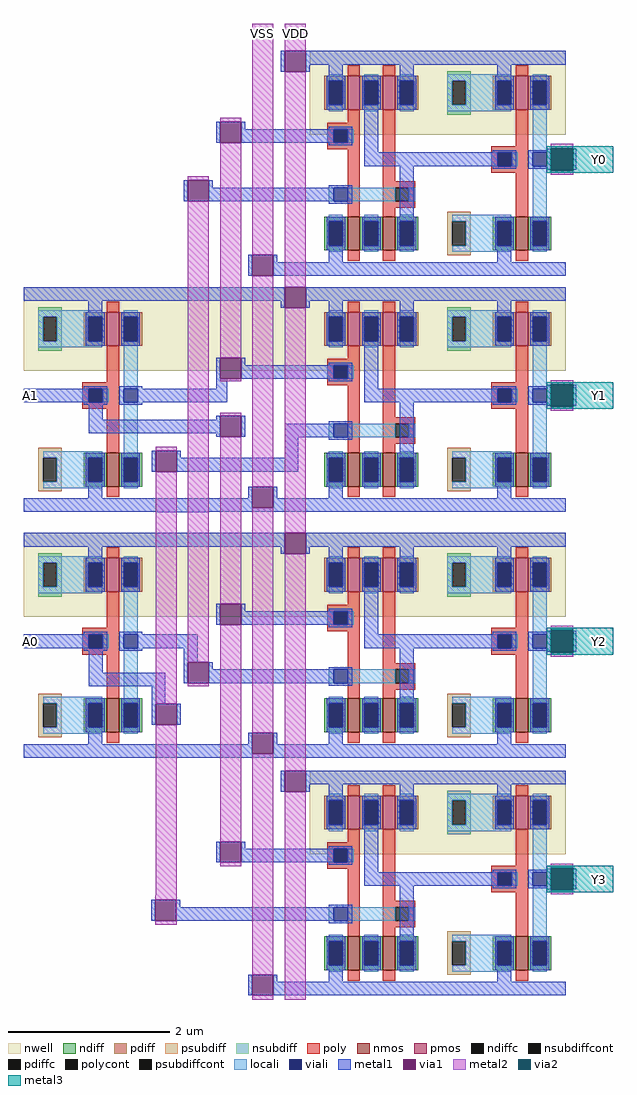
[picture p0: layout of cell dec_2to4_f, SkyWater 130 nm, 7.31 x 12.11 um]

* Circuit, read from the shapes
.subckt dec_2to4_f A0 A1 VDD VSS Y0 Y1 Y2 Y3
XM1 n1 A0 VSS VSS sky130_fd_pr__nfet_01v8 w=0.42 l=0.15
XM2 n2 A1 VSS VSS sky130_fd_pr__nfet_01v8 w=0.42 l=0.15
XM3 n3 A1 VSS VSS sky130_fd_pr__nfet_01v8 w=0.42 l=0.15
XM4 n4 A1 VSS VSS sky130_fd_pr__nfet_01v8 w=0.42 l=0.15
XM5 n5 n2 VSS VSS sky130_fd_pr__nfet_01v8 w=0.42 l=0.15
XM6 n6 n2 VSS VSS sky130_fd_pr__nfet_01v8 w=0.42 l=0.15
XM7 n7 A0 n3 VSS sky130_fd_pr__nfet_01v8 w=0.42 l=0.15
XM8 n8 n1 n4 VSS sky130_fd_pr__nfet_01v8 w=0.42 l=0.15
XM9 n9 A0 n5 VSS sky130_fd_pr__nfet_01v8 w=0.42 l=0.15
XM10 n10 n1 n6 VSS sky130_fd_pr__nfet_01v8 w=0.42 l=0.15
XM11 Y3 n7 VSS VSS sky130_fd_pr__nfet_01v8 w=0.42 l=0.15
XM12 Y2 n8 VSS VSS sky130_fd_pr__nfet_01v8 w=0.42 l=0.15
XM13 Y1 n9 VSS VSS sky130_fd_pr__nfet_01v8 w=0.42 l=0.15
XM14 Y0 n10 VSS VSS sky130_fd_pr__nfet_01v8 w=0.42 l=0.15
XM15 n1 A0 VDD VDD sky130_fd_pr__pfet_01v8 w=0.42 l=0.15
XM16 n2 A1 VDD VDD sky130_fd_pr__pfet_01v8 w=0.42 l=0.15
XM17 n7 A1 VDD VDD sky130_fd_pr__pfet_01v8 w=0.42 l=0.15
XM18 n8 A1 VDD VDD sky130_fd_pr__pfet_01v8 w=0.42 l=0.15
XM19 n9 n2 VDD VDD sky130_fd_pr__pfet_01v8 w=0.42 l=0.15
XM20 n10 n2 VDD VDD sky130_fd_pr__pfet_01v8 w=0.42 l=0.15
XM21 VDD A0 n7 VDD sky130_fd_pr__pfet_01v8 w=0.42 l=0.15
XM22 VDD n1 n8 VDD sky130_fd_pr__pfet_01v8 w=0.42 l=0.15
XM23 VDD A0 n9 VDD sky130_fd_pr__pfet_01v8 w=0.42 l=0.15
XM24 VDD n1 n10 VDD sky130_fd_pr__pfet_01v8 w=0.42 l=0.15
XM25 Y3 n7 VDD VDD sky130_fd_pr__pfet_01v8 w=0.42 l=0.15
XM26 Y2 n8 VDD VDD sky130_fd_pr__pfet_01v8 w=0.42 l=0.15
XM27 Y1 n9 VDD VDD sky130_fd_pr__pfet_01v8 w=0.42 l=0.15
XM28 Y0 n10 VDD VDD sky130_fd_pr__pfet_01v8 w=0.42 l=0.15
.ends

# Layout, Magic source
magic
tech sky130A
magscale 1 2
<< nwell >>
rect 709 2146 1345 2354
rect 0 1560 1345 1768
rect 0 950 1345 1158
rect 709 360 1345 568
<< nmos >>
rect 803 1859 833 1943
rect 891 1859 921 1943
rect 1221 1859 1251 1943
rect 206 1273 236 1357
rect 803 1273 833 1357
rect 891 1273 921 1357
rect 1221 1273 1251 1357
rect 206 663 236 747
rect 803 663 833 747
rect 891 663 921 747
rect 1221 663 1251 747
rect 803 73 833 157
rect 891 73 921 157
rect 1221 73 1251 157
<< pmos >>
rect 803 2208 833 2292
rect 891 2208 921 2292
rect 1221 2208 1251 2292
rect 206 1622 236 1706
rect 803 1622 833 1706
rect 891 1622 921 1706
rect 1221 1622 1251 1706
rect 206 1012 236 1096
rect 803 1012 833 1096
rect 891 1012 921 1096
rect 1221 1012 1251 1096
rect 803 422 833 506
rect 891 422 921 506
rect 1221 422 1251 506
<< ndiff >>
rect 745 1931 803 1943
rect 745 1871 757 1931
rect 791 1871 803 1931
rect 745 1859 803 1871
rect 833 1931 891 1943
rect 833 1871 845 1931
rect 879 1871 891 1931
rect 833 1859 891 1871
rect 921 1931 979 1943
rect 921 1871 933 1931
rect 967 1871 979 1931
rect 921 1859 979 1871
rect 1163 1931 1221 1943
rect 1163 1871 1175 1931
rect 1209 1871 1221 1931
rect 1163 1859 1221 1871
rect 1251 1931 1309 1943
rect 1251 1871 1263 1931
rect 1297 1871 1309 1931
rect 1251 1859 1309 1871
rect 148 1345 206 1357
rect 148 1285 160 1345
rect 194 1285 206 1345
rect 148 1273 206 1285
rect 236 1345 294 1357
rect 236 1285 248 1345
rect 282 1285 294 1345
rect 236 1273 294 1285
rect 745 1345 803 1357
rect 745 1285 757 1345
rect 791 1285 803 1345
rect 745 1273 803 1285
rect 833 1345 891 1357
rect 833 1285 845 1345
rect 879 1285 891 1345
rect 833 1273 891 1285
rect 921 1345 979 1357
rect 921 1285 933 1345
rect 967 1285 979 1345
rect 921 1273 979 1285
rect 1163 1345 1221 1357
rect 1163 1285 1175 1345
rect 1209 1285 1221 1345
rect 1163 1273 1221 1285
rect 1251 1345 1309 1357
rect 1251 1285 1263 1345
rect 1297 1285 1309 1345
rect 1251 1273 1309 1285
rect 148 735 206 747
rect 148 675 160 735
rect 194 675 206 735
rect 148 663 206 675
rect 236 735 294 747
rect 236 675 248 735
rect 282 675 294 735
rect 236 663 294 675
rect 745 735 803 747
rect 745 675 757 735
rect 791 675 803 735
rect 745 663 803 675
rect 833 735 891 747
rect 833 675 845 735
rect 879 675 891 735
rect 833 663 891 675
rect 921 735 979 747
rect 921 675 933 735
rect 967 675 979 735
rect 921 663 979 675
rect 1163 735 1221 747
rect 1163 675 1175 735
rect 1209 675 1221 735
rect 1163 663 1221 675
rect 1251 735 1309 747
rect 1251 675 1263 735
rect 1297 675 1309 735
rect 1251 663 1309 675
rect 745 145 803 157
rect 745 85 757 145
rect 791 85 803 145
rect 745 73 803 85
rect 833 145 891 157
rect 833 85 845 145
rect 879 85 891 145
rect 833 73 891 85
rect 921 145 979 157
rect 921 85 933 145
rect 967 85 979 145
rect 921 73 979 85
rect 1163 145 1221 157
rect 1163 85 1175 145
rect 1209 85 1221 145
rect 1163 73 1221 85
rect 1251 145 1309 157
rect 1251 85 1263 145
rect 1297 85 1309 145
rect 1251 73 1309 85
<< pdiff >>
rect 745 2280 803 2292
rect 745 2220 757 2280
rect 791 2220 803 2280
rect 745 2208 803 2220
rect 833 2280 891 2292
rect 833 2220 845 2280
rect 879 2220 891 2280
rect 833 2208 891 2220
rect 921 2280 979 2292
rect 921 2220 933 2280
rect 967 2220 979 2280
rect 921 2208 979 2220
rect 1163 2280 1221 2292
rect 1163 2220 1175 2280
rect 1209 2220 1221 2280
rect 1163 2208 1221 2220
rect 1251 2280 1309 2292
rect 1251 2220 1263 2280
rect 1297 2220 1309 2280
rect 1251 2208 1309 2220
rect 148 1694 206 1706
rect 148 1634 160 1694
rect 194 1634 206 1694
rect 148 1622 206 1634
rect 236 1694 294 1706
rect 236 1634 248 1694
rect 282 1634 294 1694
rect 236 1622 294 1634
rect 745 1694 803 1706
rect 745 1634 757 1694
rect 791 1634 803 1694
rect 745 1622 803 1634
rect 833 1694 891 1706
rect 833 1634 845 1694
rect 879 1634 891 1694
rect 833 1622 891 1634
rect 921 1694 979 1706
rect 921 1634 933 1694
rect 967 1634 979 1694
rect 921 1622 979 1634
rect 1163 1694 1221 1706
rect 1163 1634 1175 1694
rect 1209 1634 1221 1694
rect 1163 1622 1221 1634
rect 1251 1694 1309 1706
rect 1251 1634 1263 1694
rect 1297 1634 1309 1694
rect 1251 1622 1309 1634
rect 148 1084 206 1096
rect 148 1024 160 1084
rect 194 1024 206 1084
rect 148 1012 206 1024
rect 236 1084 294 1096
rect 236 1024 248 1084
rect 282 1024 294 1084
rect 236 1012 294 1024
rect 745 1084 803 1096
rect 745 1024 757 1084
rect 791 1024 803 1084
rect 745 1012 803 1024
rect 833 1084 891 1096
rect 833 1024 845 1084
rect 879 1024 891 1084
rect 833 1012 891 1024
rect 921 1084 979 1096
rect 921 1024 933 1084
rect 967 1024 979 1084
rect 921 1012 979 1024
rect 1163 1084 1221 1096
rect 1163 1024 1175 1084
rect 1209 1024 1221 1084
rect 1163 1012 1221 1024
rect 1251 1084 1309 1096
rect 1251 1024 1263 1084
rect 1297 1024 1309 1084
rect 1251 1012 1309 1024
rect 745 494 803 506
rect 745 434 757 494
rect 791 434 803 494
rect 745 422 803 434
rect 833 494 891 506
rect 833 434 845 494
rect 879 434 891 494
rect 833 422 891 434
rect 921 494 979 506
rect 921 434 933 494
rect 967 434 979 494
rect 921 422 979 434
rect 1163 494 1221 506
rect 1163 434 1175 494
rect 1209 434 1221 494
rect 1163 422 1221 434
rect 1251 494 1309 506
rect 1251 434 1263 494
rect 1297 434 1309 494
rect 1251 422 1309 434
<< ndiffc >>
rect 757 1871 791 1931
rect 845 1871 879 1931
rect 933 1871 967 1931
rect 1175 1871 1209 1931
rect 1263 1871 1297 1931
rect 160 1285 194 1345
rect 248 1285 282 1345
rect 757 1285 791 1345
rect 845 1285 879 1345
rect 933 1285 967 1345
rect 1175 1285 1209 1345
rect 1263 1285 1297 1345
rect 160 675 194 735
rect 248 675 282 735
rect 757 675 791 735
rect 845 675 879 735
rect 933 675 967 735
rect 1175 675 1209 735
rect 1263 675 1297 735
rect 757 85 791 145
rect 845 85 879 145
rect 933 85 967 145
rect 1175 85 1209 145
rect 1263 85 1297 145
<< pdiffc >>
rect 757 2220 791 2280
rect 845 2220 879 2280
rect 933 2220 967 2280
rect 1175 2220 1209 2280
rect 1263 2220 1297 2280
rect 160 1634 194 1694
rect 248 1634 282 1694
rect 757 1634 791 1694
rect 845 1634 879 1694
rect 933 1634 967 1694
rect 1175 1634 1209 1694
rect 1263 1634 1297 1694
rect 160 1024 194 1084
rect 248 1024 282 1084
rect 757 1024 791 1084
rect 845 1024 879 1084
rect 933 1024 967 1084
rect 1175 1024 1209 1084
rect 1263 1024 1297 1084
rect 757 434 791 494
rect 845 434 879 494
rect 933 434 967 494
rect 1175 434 1209 494
rect 1263 434 1297 494
<< psubdiff >>
rect 1051 1931 1109 1955
rect 1051 1871 1063 1931
rect 1097 1871 1109 1931
rect 1051 1847 1109 1871
rect 36 1345 94 1369
rect 36 1285 48 1345
rect 82 1285 94 1345
rect 36 1261 94 1285
rect 1051 1345 1109 1369
rect 1051 1285 1063 1345
rect 1097 1285 1109 1345
rect 1051 1261 1109 1285
rect 36 735 94 759
rect 36 675 48 735
rect 82 675 94 735
rect 36 651 94 675
rect 1051 735 1109 759
rect 1051 675 1063 735
rect 1097 675 1109 735
rect 1051 651 1109 675
rect 1051 145 1109 169
rect 1051 85 1063 145
rect 1097 85 1109 145
rect 1051 61 1109 85
<< nsubdiff >>
rect 1051 2280 1109 2304
rect 1051 2220 1063 2280
rect 1097 2220 1109 2280
rect 1051 2196 1109 2220
rect 36 1694 94 1718
rect 36 1634 48 1694
rect 82 1634 94 1694
rect 36 1610 94 1634
rect 1051 1694 1109 1718
rect 1051 1634 1063 1694
rect 1097 1634 1109 1694
rect 1051 1610 1109 1634
rect 36 1084 94 1108
rect 36 1024 48 1084
rect 82 1024 94 1084
rect 36 1000 94 1024
rect 1051 1084 1109 1108
rect 1051 1024 1063 1084
rect 1097 1024 1109 1084
rect 1051 1000 1109 1024
rect 1051 494 1109 518
rect 1051 434 1063 494
rect 1097 434 1109 494
rect 1051 410 1109 434
<< psubdiffcont >>
rect 1063 1871 1097 1931
rect 48 1285 82 1345
rect 1063 1285 1097 1345
rect 48 675 82 735
rect 1063 675 1097 735
rect 1063 85 1097 145
<< nsubdiffcont >>
rect 1063 2220 1097 2280
rect 48 1634 82 1694
rect 1063 1634 1097 1694
rect 48 1024 82 1084
rect 1063 1024 1097 1084
rect 1063 434 1097 494
<< poly >>
rect 803 2292 833 2318
rect 891 2292 921 2318
rect 1221 2292 1251 2318
rect 803 2176 833 2208
rect 753 2160 833 2176
rect 753 2126 769 2160
rect 803 2126 833 2160
rect 753 2110 833 2126
rect 803 1943 833 2110
rect 891 2031 921 2208
rect 1221 2118 1251 2208
rect 1160 2102 1251 2118
rect 1160 2068 1176 2102
rect 1210 2068 1251 2102
rect 1160 2052 1251 2068
rect 891 2015 971 2031
rect 891 1981 921 2015
rect 955 1981 971 2015
rect 891 1965 971 1981
rect 891 1943 921 1965
rect 1221 1943 1251 2052
rect 803 1833 833 1859
rect 891 1833 921 1859
rect 1221 1833 1251 1859
rect 206 1706 236 1732
rect 803 1706 833 1732
rect 891 1706 921 1732
rect 1221 1706 1251 1732
rect 206 1532 236 1622
rect 803 1590 833 1622
rect 145 1516 236 1532
rect 753 1574 833 1590
rect 753 1540 769 1574
rect 803 1540 833 1574
rect 753 1524 833 1540
rect 145 1482 161 1516
rect 195 1482 236 1516
rect 145 1466 236 1482
rect 206 1357 236 1466
rect 803 1357 833 1524
rect 891 1445 921 1622
rect 1221 1532 1251 1622
rect 1160 1516 1251 1532
rect 1160 1482 1176 1516
rect 1210 1482 1251 1516
rect 1160 1466 1251 1482
rect 891 1429 971 1445
rect 891 1395 921 1429
rect 955 1395 971 1429
rect 891 1379 971 1395
rect 891 1357 921 1379
rect 1221 1357 1251 1466
rect 206 1247 236 1273
rect 803 1247 833 1273
rect 891 1247 921 1273
rect 1221 1247 1251 1273
rect 206 1096 236 1122
rect 803 1096 833 1122
rect 891 1096 921 1122
rect 1221 1096 1251 1122
rect 206 922 236 1012
rect 803 980 833 1012
rect 145 906 236 922
rect 753 964 833 980
rect 753 930 769 964
rect 803 930 833 964
rect 753 914 833 930
rect 145 872 161 906
rect 195 872 236 906
rect 145 856 236 872
rect 206 747 236 856
rect 803 747 833 914
rect 891 835 921 1012
rect 1221 922 1251 1012
rect 1160 906 1251 922
rect 1160 872 1176 906
rect 1210 872 1251 906
rect 1160 856 1251 872
rect 891 819 971 835
rect 891 785 921 819
rect 955 785 971 819
rect 891 769 971 785
rect 891 747 921 769
rect 1221 747 1251 856
rect 206 637 236 663
rect 803 637 833 663
rect 891 637 921 663
rect 1221 637 1251 663
rect 803 506 833 532
rect 891 506 921 532
rect 1221 506 1251 532
rect 803 390 833 422
rect 753 374 833 390
rect 753 340 769 374
rect 803 340 833 374
rect 753 324 833 340
rect 803 157 833 324
rect 891 245 921 422
rect 1221 332 1251 422
rect 1160 316 1251 332
rect 1160 282 1176 316
rect 1210 282 1251 316
rect 1160 266 1251 282
rect 891 229 971 245
rect 891 195 921 229
rect 955 195 971 229
rect 891 179 971 195
rect 891 157 921 179
rect 1221 157 1251 266
rect 803 47 833 73
rect 891 47 921 73
rect 1221 47 1251 73
<< polycont >>
rect 769 2126 803 2160
rect 1176 2068 1210 2102
rect 921 1981 955 2015
rect 769 1540 803 1574
rect 161 1482 195 1516
rect 1176 1482 1210 1516
rect 921 1395 955 1429
rect 769 930 803 964
rect 161 872 195 906
rect 1176 872 1210 906
rect 921 785 955 819
rect 769 340 803 374
rect 1176 282 1210 316
rect 921 195 955 229
<< locali >>
rect 757 2280 791 2296
rect 757 2204 791 2220
rect 845 2280 879 2296
rect 845 2204 879 2220
rect 933 2280 967 2296
rect 933 2204 967 2220
rect 1051 2280 1209 2296
rect 1051 2220 1063 2280
rect 1097 2220 1175 2280
rect 1051 2204 1209 2220
rect 1263 2280 1297 2296
rect 753 2126 769 2160
rect 803 2126 819 2160
rect 1263 2102 1297 2220
rect 1160 2068 1176 2102
rect 1210 2068 1226 2102
rect 757 1981 769 2015
rect 803 1981 921 2015
rect 955 1981 971 2015
rect 757 1931 791 1947
rect 757 1855 791 1871
rect 845 1931 879 1947
rect 845 1855 879 1871
rect 933 1931 967 1947
rect 933 1855 967 1871
rect 1063 1931 1209 1947
rect 1097 1871 1175 1931
rect 1063 1855 1209 1871
rect 1263 1931 1297 2068
rect 1263 1855 1297 1871
rect 36 1694 194 1710
rect 36 1634 48 1694
rect 82 1634 160 1694
rect 36 1618 194 1634
rect 248 1694 282 1710
rect 248 1516 282 1634
rect 757 1694 791 1710
rect 757 1618 791 1634
rect 845 1694 879 1710
rect 845 1618 879 1634
rect 933 1694 967 1710
rect 933 1618 967 1634
rect 1051 1694 1209 1710
rect 1051 1634 1063 1694
rect 1097 1634 1175 1694
rect 1051 1618 1209 1634
rect 1263 1694 1297 1710
rect 753 1540 769 1574
rect 803 1540 819 1574
rect 1263 1516 1297 1634
rect 145 1482 161 1516
rect 195 1482 211 1516
rect 1160 1482 1176 1516
rect 1210 1482 1226 1516
rect 48 1345 194 1361
rect 82 1285 160 1345
rect 48 1269 194 1285
rect 248 1345 282 1482
rect 757 1395 769 1429
rect 803 1395 921 1429
rect 955 1395 971 1429
rect 248 1269 282 1285
rect 757 1345 791 1361
rect 757 1269 791 1285
rect 845 1345 879 1361
rect 845 1269 879 1285
rect 933 1345 967 1361
rect 933 1269 967 1285
rect 1063 1345 1209 1361
rect 1097 1285 1175 1345
rect 1063 1269 1209 1285
rect 1263 1345 1297 1482
rect 1263 1269 1297 1285
rect 36 1084 194 1100
rect 36 1024 48 1084
rect 82 1024 160 1084
rect 36 1008 194 1024
rect 248 1084 282 1100
rect 248 906 282 1024
rect 757 1084 791 1100
rect 757 1008 791 1024
rect 845 1084 879 1100
rect 845 1008 879 1024
rect 933 1084 967 1100
rect 933 1008 967 1024
rect 1051 1084 1209 1100
rect 1051 1024 1063 1084
rect 1097 1024 1175 1084
rect 1051 1008 1209 1024
rect 1263 1084 1297 1100
rect 753 930 769 964
rect 803 930 819 964
rect 1263 906 1297 1024
rect 145 872 161 906
rect 195 872 211 906
rect 1160 872 1176 906
rect 1210 872 1226 906
rect 48 735 194 751
rect 82 675 160 735
rect 48 659 194 675
rect 248 735 282 872
rect 757 785 769 819
rect 803 785 921 819
rect 955 785 971 819
rect 248 659 282 675
rect 757 735 791 751
rect 757 659 791 675
rect 845 735 879 751
rect 845 659 879 675
rect 933 735 967 751
rect 933 659 967 675
rect 1063 735 1209 751
rect 1097 675 1175 735
rect 1063 659 1209 675
rect 1263 735 1297 872
rect 1263 659 1297 675
rect 757 494 791 510
rect 757 418 791 434
rect 845 494 879 510
rect 845 418 879 434
rect 933 494 967 510
rect 933 418 967 434
rect 1051 494 1209 510
rect 1051 434 1063 494
rect 1097 434 1175 494
rect 1051 418 1209 434
rect 1263 494 1297 510
rect 753 340 769 374
rect 803 340 819 374
rect 1263 316 1297 434
rect 1160 282 1176 316
rect 1210 282 1226 316
rect 757 195 769 229
rect 803 195 921 229
rect 955 195 971 229
rect 757 145 791 161
rect 757 69 791 85
rect 845 145 879 161
rect 845 69 879 85
rect 933 145 967 161
rect 933 69 967 85
rect 1063 145 1209 161
rect 1097 85 1175 145
rect 1063 69 1209 85
rect 1263 145 1297 282
rect 1263 69 1297 85
<< viali >>
rect 757 2220 791 2280
rect 845 2220 879 2280
rect 933 2220 967 2280
rect 1175 2220 1209 2280
rect 1263 2220 1297 2280
rect 769 2126 803 2160
rect 1176 2068 1210 2102
rect 1263 2068 1297 2102
rect 769 1981 803 2015
rect 757 1871 791 1931
rect 845 1871 879 1931
rect 933 1871 967 1931
rect 1175 1871 1209 1931
rect 1263 1871 1297 1931
rect 160 1634 194 1694
rect 248 1634 282 1694
rect 757 1634 791 1694
rect 845 1634 879 1694
rect 933 1634 967 1694
rect 1175 1634 1209 1694
rect 1263 1634 1297 1694
rect 769 1540 803 1574
rect 161 1482 195 1516
rect 248 1482 282 1516
rect 1176 1482 1210 1516
rect 1263 1482 1297 1516
rect 160 1285 194 1345
rect 769 1395 803 1429
rect 248 1285 282 1345
rect 757 1285 791 1345
rect 845 1285 879 1345
rect 933 1285 967 1345
rect 1175 1285 1209 1345
rect 1263 1285 1297 1345
rect 160 1024 194 1084
rect 248 1024 282 1084
rect 757 1024 791 1084
rect 845 1024 879 1084
rect 933 1024 967 1084
rect 1175 1024 1209 1084
rect 1263 1024 1297 1084
rect 769 930 803 964
rect 161 872 195 906
rect 248 872 282 906
rect 1176 872 1210 906
rect 1263 872 1297 906
rect 160 675 194 735
rect 769 785 803 819
rect 248 675 282 735
rect 757 675 791 735
rect 845 675 879 735
rect 933 675 967 735
rect 1175 675 1209 735
rect 1263 675 1297 735
rect 757 434 791 494
rect 845 434 879 494
rect 933 434 967 494
rect 1175 434 1209 494
rect 1263 434 1297 494
rect 769 340 803 374
rect 1176 282 1210 316
rect 1263 282 1297 316
rect 769 195 803 229
rect 757 85 791 145
rect 845 85 879 145
rect 933 85 967 145
rect 1175 85 1209 145
rect 1263 85 1297 145
<< metal1 >>
rect 637 2302 647 2354
rect 699 2320 1345 2354
rect 699 2302 709 2320
rect 757 2292 791 2320
rect 933 2292 967 2320
rect 1175 2292 1209 2320
rect 751 2280 797 2292
rect 751 2220 757 2280
rect 791 2220 797 2280
rect 751 2208 797 2220
rect 839 2280 885 2292
rect 839 2220 845 2280
rect 879 2220 885 2280
rect 839 2208 885 2220
rect 927 2280 973 2292
rect 927 2220 933 2280
rect 967 2220 973 2280
rect 927 2208 973 2220
rect 1169 2280 1215 2292
rect 1169 2220 1175 2280
rect 1209 2220 1215 2280
rect 1169 2208 1215 2220
rect 1257 2280 1303 2292
rect 1257 2220 1263 2280
rect 1297 2220 1303 2280
rect 1257 2208 1303 2220
rect 477 2126 487 2178
rect 539 2160 549 2178
rect 757 2160 815 2166
rect 539 2126 769 2160
rect 803 2126 815 2160
rect 757 2120 815 2126
rect 845 2102 879 2208
rect 1299 2108 1309 2111
rect 1164 2102 1222 2108
rect 845 2068 1176 2102
rect 1210 2068 1222 2102
rect 397 1981 407 2033
rect 459 2015 469 2033
rect 757 2015 815 2021
rect 459 1981 769 2015
rect 803 1981 815 2015
rect 757 1975 815 1981
rect 933 1943 967 2068
rect 1164 2062 1222 2068
rect 1251 2102 1309 2108
rect 1251 2068 1263 2102
rect 1297 2068 1309 2102
rect 1251 2062 1309 2068
rect 1299 2059 1309 2062
rect 1361 2059 1371 2111
rect 751 1931 797 1943
rect 751 1871 757 1931
rect 791 1871 797 1931
rect 751 1859 797 1871
rect 839 1931 885 1943
rect 839 1871 845 1931
rect 879 1871 885 1931
rect 839 1859 885 1871
rect 927 1931 973 1943
rect 927 1871 933 1931
rect 967 1871 973 1931
rect 927 1859 973 1871
rect 1169 1931 1215 1943
rect 1169 1871 1175 1931
rect 1209 1871 1215 1931
rect 1169 1859 1215 1871
rect 1257 1931 1303 1943
rect 1257 1871 1263 1931
rect 1297 1871 1303 1931
rect 1257 1859 1303 1871
rect 557 1796 567 1848
rect 619 1830 629 1848
rect 757 1830 791 1859
rect 1175 1830 1209 1859
rect 619 1796 1345 1830
rect 0 1734 647 1768
rect 160 1706 194 1734
rect 637 1716 647 1734
rect 699 1734 1345 1768
rect 699 1716 709 1734
rect 757 1706 791 1734
rect 933 1706 967 1734
rect 1175 1706 1209 1734
rect 154 1694 200 1706
rect 154 1634 160 1694
rect 194 1634 200 1694
rect 154 1622 200 1634
rect 242 1694 288 1706
rect 242 1634 248 1694
rect 282 1634 288 1694
rect 242 1622 288 1634
rect 751 1694 797 1706
rect 751 1634 757 1694
rect 791 1634 797 1694
rect 751 1622 797 1634
rect 839 1694 885 1706
rect 839 1634 845 1694
rect 879 1634 885 1694
rect 839 1622 885 1634
rect 927 1694 973 1706
rect 927 1634 933 1694
rect 967 1634 973 1694
rect 927 1622 973 1634
rect 1169 1694 1215 1706
rect 1169 1634 1175 1694
rect 1209 1634 1215 1694
rect 1169 1622 1215 1634
rect 1257 1694 1303 1706
rect 1257 1634 1263 1694
rect 1297 1634 1303 1694
rect 1257 1622 1303 1634
rect 477 1540 487 1592
rect 539 1574 549 1592
rect 757 1574 815 1580
rect 539 1540 769 1574
rect 803 1540 815 1574
rect 149 1516 207 1522
rect 0 1482 161 1516
rect 195 1482 207 1516
rect 149 1476 207 1482
rect 236 1516 294 1522
rect 477 1516 505 1540
rect 757 1534 815 1540
rect 236 1482 248 1516
rect 282 1482 505 1516
rect 845 1516 879 1622
rect 1299 1522 1309 1525
rect 1164 1516 1222 1522
rect 845 1482 1176 1516
rect 1210 1482 1222 1516
rect 236 1476 294 1482
rect 161 1439 195 1476
rect 477 1439 487 1448
rect 161 1405 487 1439
rect 477 1396 487 1405
rect 539 1396 549 1448
rect 757 1429 815 1435
rect 647 1395 769 1429
rect 803 1395 815 1429
rect 154 1345 200 1357
rect 154 1285 160 1345
rect 194 1285 200 1345
rect 154 1273 200 1285
rect 242 1345 288 1357
rect 242 1285 248 1345
rect 282 1285 288 1345
rect 317 1310 327 1362
rect 379 1344 389 1362
rect 647 1344 681 1395
rect 757 1389 815 1395
rect 933 1357 967 1482
rect 1164 1476 1222 1482
rect 1251 1516 1309 1522
rect 1251 1482 1263 1516
rect 1297 1482 1309 1516
rect 1251 1476 1309 1482
rect 1299 1473 1309 1476
rect 1361 1473 1371 1525
rect 379 1310 681 1344
rect 751 1345 797 1357
rect 242 1273 288 1285
rect 751 1285 757 1345
rect 791 1285 797 1345
rect 751 1273 797 1285
rect 839 1345 885 1357
rect 839 1285 845 1345
rect 879 1285 885 1345
rect 839 1273 885 1285
rect 927 1345 973 1357
rect 927 1285 933 1345
rect 967 1285 973 1345
rect 927 1273 973 1285
rect 1169 1345 1215 1357
rect 1169 1285 1175 1345
rect 1209 1285 1215 1345
rect 1169 1273 1215 1285
rect 1257 1345 1303 1357
rect 1257 1285 1263 1345
rect 1297 1285 1303 1345
rect 1257 1273 1303 1285
rect 160 1244 194 1273
rect 557 1244 567 1272
rect 0 1220 567 1244
rect 619 1244 629 1272
rect 757 1244 791 1273
rect 1175 1244 1209 1273
rect 619 1220 1345 1244
rect 0 1210 1345 1220
rect 327 1209 455 1210
rect 0 1124 647 1158
rect 160 1096 194 1124
rect 637 1106 647 1124
rect 699 1124 1345 1158
rect 699 1106 709 1124
rect 757 1096 791 1124
rect 933 1096 967 1124
rect 1175 1096 1209 1124
rect 154 1084 200 1096
rect 154 1024 160 1084
rect 194 1024 200 1084
rect 154 1012 200 1024
rect 242 1084 288 1096
rect 242 1024 248 1084
rect 282 1024 288 1084
rect 242 1012 288 1024
rect 751 1084 797 1096
rect 751 1024 757 1084
rect 791 1024 797 1084
rect 751 1012 797 1024
rect 839 1084 885 1096
rect 839 1024 845 1084
rect 879 1024 885 1084
rect 839 1012 885 1024
rect 927 1084 973 1096
rect 927 1024 933 1084
rect 967 1024 973 1084
rect 927 1012 973 1024
rect 1169 1084 1215 1096
rect 1169 1024 1175 1084
rect 1209 1024 1215 1084
rect 1169 1012 1215 1024
rect 1257 1084 1303 1096
rect 1257 1024 1263 1084
rect 1297 1024 1303 1084
rect 1257 1012 1303 1024
rect 477 930 487 982
rect 539 964 549 982
rect 757 964 815 970
rect 539 930 769 964
rect 803 930 815 964
rect 757 924 815 930
rect 149 906 207 912
rect 0 872 161 906
rect 195 872 207 906
rect 149 866 207 872
rect 236 906 294 912
rect 845 906 879 1012
rect 1299 912 1309 915
rect 1164 906 1222 912
rect 236 872 248 906
rect 282 872 431 906
rect 845 872 1176 906
rect 1210 872 1222 906
rect 236 866 294 872
rect 161 811 195 866
rect 397 837 431 872
rect 161 777 351 811
rect 397 785 407 837
rect 459 819 469 837
rect 757 819 815 825
rect 459 785 769 819
rect 803 785 815 819
rect 757 779 815 785
rect 154 735 200 747
rect 154 675 160 735
rect 194 675 200 735
rect 154 663 200 675
rect 242 735 288 747
rect 242 675 248 735
rect 282 675 288 735
rect 317 734 351 777
rect 933 747 967 872
rect 1164 866 1222 872
rect 1251 906 1309 912
rect 1251 872 1263 906
rect 1297 872 1309 906
rect 1251 866 1309 872
rect 1299 863 1309 866
rect 1361 863 1371 915
rect 751 735 797 747
rect 317 682 327 734
rect 379 682 389 734
rect 242 663 288 675
rect 751 675 757 735
rect 791 675 797 735
rect 751 663 797 675
rect 839 735 885 747
rect 839 675 845 735
rect 879 675 885 735
rect 839 663 885 675
rect 927 735 973 747
rect 927 675 933 735
rect 967 675 973 735
rect 927 663 973 675
rect 1169 735 1215 747
rect 1169 675 1175 735
rect 1209 675 1215 735
rect 1169 663 1215 675
rect 1257 735 1303 747
rect 1257 675 1263 735
rect 1297 675 1303 735
rect 1257 663 1303 675
rect 160 634 194 663
rect 557 634 567 662
rect 0 610 567 634
rect 619 634 629 662
rect 757 634 791 663
rect 1175 634 1209 663
rect 619 610 1345 634
rect 0 600 1345 610
rect 637 516 647 568
rect 699 534 1345 568
rect 699 516 709 534
rect 757 506 791 534
rect 933 506 967 534
rect 1175 506 1209 534
rect 751 494 797 506
rect 751 434 757 494
rect 791 434 797 494
rect 751 422 797 434
rect 839 494 885 506
rect 839 434 845 494
rect 879 434 885 494
rect 839 422 885 434
rect 927 494 973 506
rect 927 434 933 494
rect 967 434 973 494
rect 927 422 973 434
rect 1169 494 1215 506
rect 1169 434 1175 494
rect 1209 434 1215 494
rect 1169 422 1215 434
rect 1257 494 1303 506
rect 1257 434 1263 494
rect 1297 434 1303 494
rect 1257 422 1303 434
rect 477 340 487 392
rect 539 374 549 392
rect 757 374 815 380
rect 539 340 769 374
rect 803 340 815 374
rect 757 334 815 340
rect 845 316 879 422
rect 1299 322 1309 325
rect 1164 316 1222 322
rect 845 282 1176 316
rect 1210 282 1222 316
rect 316 195 326 247
rect 378 229 388 247
rect 757 229 815 235
rect 378 195 769 229
rect 803 195 815 229
rect 757 189 815 195
rect 933 157 967 282
rect 1164 276 1222 282
rect 1251 316 1309 322
rect 1251 282 1263 316
rect 1297 282 1309 316
rect 1251 276 1309 282
rect 1299 273 1309 276
rect 1361 273 1371 325
rect 751 145 797 157
rect 751 85 757 145
rect 791 85 797 145
rect 751 73 797 85
rect 839 145 885 157
rect 839 85 845 145
rect 879 85 885 145
rect 839 73 885 85
rect 927 145 973 157
rect 927 85 933 145
rect 967 85 973 145
rect 927 73 973 85
rect 1169 145 1215 157
rect 1169 85 1175 145
rect 1209 85 1215 145
rect 1169 73 1215 85
rect 1257 145 1303 157
rect 1257 85 1263 145
rect 1297 85 1303 145
rect 1257 73 1303 85
rect 557 10 567 62
rect 619 44 629 62
rect 757 44 791 73
rect 1175 44 1209 73
rect 619 10 1345 44
<< via1 >>
rect 647 2302 699 2354
rect 487 2126 539 2178
rect 407 1981 459 2033
rect 1309 2059 1361 2111
rect 567 1796 619 1848
rect 647 1716 699 1768
rect 487 1540 539 1592
rect 487 1396 539 1448
rect 327 1310 379 1362
rect 1309 1473 1361 1525
rect 567 1220 619 1272
rect 647 1106 699 1158
rect 487 930 539 982
rect 407 785 459 837
rect 1309 863 1361 915
rect 327 682 379 734
rect 567 610 619 662
rect 647 516 699 568
rect 487 340 539 392
rect 326 195 378 247
rect 1309 273 1361 325
rect 567 10 619 62
<< metal2 >>
rect 487 2178 539 2188
rect 407 2033 459 2043
rect 327 1362 379 1372
rect 327 734 379 1310
rect 407 837 459 1981
rect 487 1592 539 2126
rect 487 1534 539 1540
rect 567 1848 619 2422
rect 407 777 459 785
rect 487 1448 539 1456
rect 487 982 539 1396
rect 327 257 379 682
rect 487 392 539 930
rect 487 331 539 340
rect 567 1272 619 1796
rect 567 662 619 1220
rect 326 247 379 257
rect 378 195 379 247
rect 326 185 379 195
rect 567 62 619 610
rect 567 0 619 10
rect 647 2354 699 2422
rect 647 1768 699 2302
rect 1307 2113 1363 2123
rect 1307 2047 1363 2057
rect 647 1158 699 1716
rect 1307 1527 1363 1537
rect 1307 1461 1363 1471
rect 647 568 699 1106
rect 1307 917 1363 927
rect 1307 851 1363 861
rect 647 0 699 516
rect 1307 327 1363 337
rect 1307 261 1363 271
<< via2 >>
rect 1307 2111 1363 2113
rect 1307 2059 1309 2111
rect 1309 2059 1361 2111
rect 1361 2059 1363 2111
rect 1307 2057 1363 2059
rect 1307 1525 1363 1527
rect 1307 1473 1309 1525
rect 1309 1473 1361 1525
rect 1361 1473 1363 1525
rect 1307 1471 1363 1473
rect 1307 915 1363 917
rect 1307 863 1309 915
rect 1309 863 1361 915
rect 1361 863 1363 915
rect 1307 861 1363 863
rect 1307 325 1363 327
rect 1307 273 1309 325
rect 1309 273 1361 325
rect 1361 273 1363 325
rect 1307 271 1363 273
<< metal3 >>
rect 1297 2113 1462 2118
rect 1297 2057 1307 2113
rect 1363 2057 1462 2113
rect 1297 2052 1462 2057
rect 1297 1527 1462 1532
rect 1297 1471 1307 1527
rect 1363 1471 1462 1527
rect 1297 1466 1462 1471
rect 1297 917 1462 922
rect 1297 861 1307 917
rect 1363 861 1462 917
rect 1297 856 1462 861
rect 1297 327 1462 332
rect 1297 271 1307 327
rect 1363 271 1462 327
rect 1297 266 1462 271
<< labels >>
rlabel metal3 1396 2052 1462 2118 0 Y0
rlabel metal3 1396 1466 1462 1532 0 Y1
rlabel metal3 1396 856 1462 922 0 Y2
rlabel metal3 1396 266 1462 332 0 Y3
rlabel metal2 567 2370 619 2422 0 VSS
rlabel metal2 647 2370 699 2422 0 VDD
rlabel metal1 0 1482 34 1516 0 A1
rlabel metal1 0 872 34 906 0 A0
<< end >>
